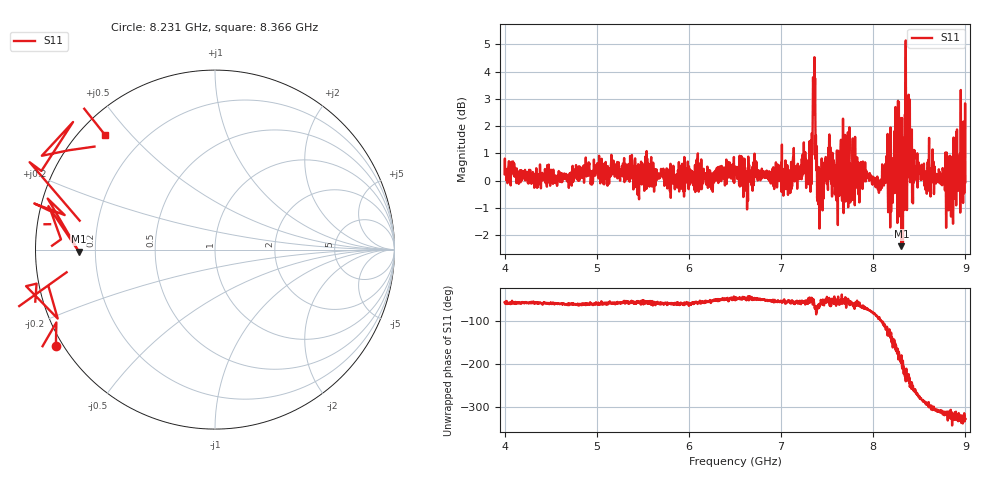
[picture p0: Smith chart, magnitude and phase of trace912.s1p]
! Created with skrf 1.8.0 (http://scikit-rf.org).
# Hz S RI R 50.0
!freq ReS11 ImS11
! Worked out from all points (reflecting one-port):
!   1601 points, 4 GHz to 9 GHz, reference 50 ohm
!   lowest |S11| = -2.4 dB at 8.306 GHz (marker M1), VSWR 7.28, Z = 6.87 - j0.383 ohm
!   phase of S11 starts at -56 deg and turns -271 deg over the sweep
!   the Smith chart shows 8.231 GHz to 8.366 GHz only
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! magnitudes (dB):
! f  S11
! 4 GHz  0.2
! 4.625 GHz  -0.1
! 5.25 GHz  0.1
! 5.875 GHz  0.1
! 6.5 GHz  0.4
! 7.125 GHz  0.3
! 7.294 GHz  0.5
! 7.359 GHz  2.4
! 7.4 GHz  -0.3
! 7.416 GHz  -1.8
! 7.509 GHz  -0.3
! 7.609 GHz  0.0
! 7.669 GHz  1.4
! 7.75 GHz  -0.8
! 8.069 GHz  0.0
! 8.131 GHz  0.0
! 8.188 GHz  2.0
! 8.259 GHz  1.9
! 8.306 GHz  -2.4
! 8.316 GHz  1.0
! 8.334 GHz  0.8
! 8.375 GHz  0.4
! 8.425 GHz  0.0
! 8.556 GHz  -0.2
! 8.619 GHz  0.1
! 8.841 GHz  0.7
! 8.972 GHz  0.4
! 9 GHz  -0.1
